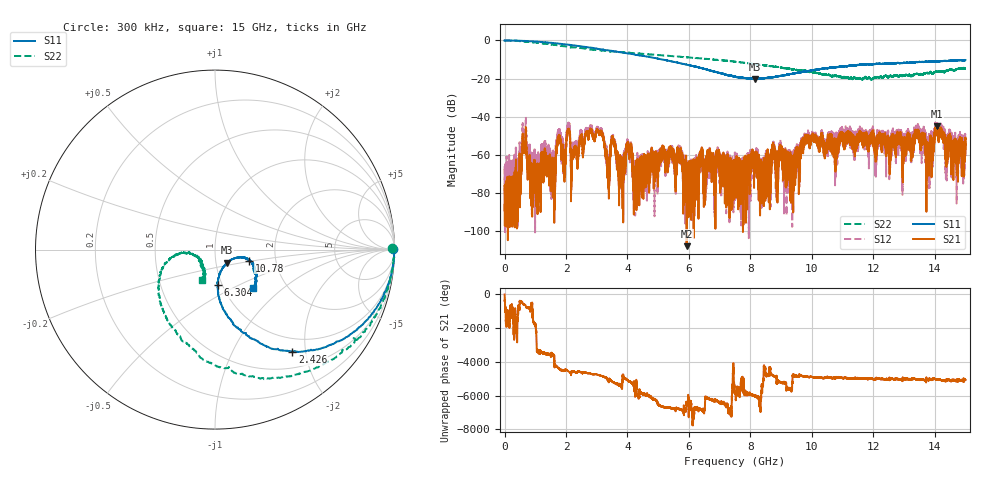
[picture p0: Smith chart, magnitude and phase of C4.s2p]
!Agilent Technologies,N5230C,SG49000117,A.08.50.07
!Agilent N5230C: A.08.50.07
!Date: Monday, December 11, 2023 23:01:31
!Correction: S11(Full 2 Port(1,2))
!S21(Full 2 Port(1,2))
!S12(Full 2 Port(1,2))
!S22(Full 2 Port(1,2))
!S2P File: Measurements: S11, S21, S12, S22:
# Hz S  RI  R 50
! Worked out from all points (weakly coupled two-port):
!   20001 points, 300 kHz to 15 GHz, reference 50 ohm
!   highest |S21| = -44.93 dB at 14.07 GHz (marker M1); lowest = -107.8 dB at 5.925 GHz (marker M2)
!   lowest |S11| = -20.1 dB at 8.157 GHz (marker M3), VSWR 1.22, Z = 56.6 - j8.23 ohm
!   |S11| at or under -10 dB: 5.139 GHz to end of sweep
!   |S22| runs from -20.5 to 0.0 dB; largest |S21 - S12| = 0.005
!   S11 on the Smith chart (normalised r, x): 300 kHz: open; 2.426 GHz: 0.76, -1.76; 6.304 GHz: 0.95, -0.39; 10.78 GHz: 1.46, -0.19; 15 GHz: 1.37, -0.65
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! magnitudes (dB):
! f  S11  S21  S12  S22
! 300 kHz  -0.1  -76.2  -65.9  -0.1
! 457.8 MHz  -0.1  -80.4  -67.9  -0.3
! 640.8 MHz  -0.2  -57.5  -52.9  -0.5
! 971.5 MHz  -0.5  -69.7  -59.4  -1.0
! 1.767 GHz  -1.7  -51.7  -47.2  -2.7
! 2.426 GHz  -2.9  -54.9  -54.3  -3.9
! 2.501 GHz  -3.1  -49.7  -48.0  -4.0
! 3.101 GHz  -4.5  -49.6  -48.3  -5.2
! 3.781 GHz  -6.1  -62.6  -68.9  -6.1
! 4.052 GHz  -6.9  -59.2  -58.2  -6.5
! 4.263 GHz  -7.5  -82.1  -77.6  -6.7
! 5 GHz  -9.6  -62.2  -60.2  -7.7
! 5.925 GHz  -12.6  -107.8  -69.8  -8.8
! 6.304 GHz  -14.0  -70.5  -64.0  -9.3
! 7.5 GHz  -18.9  -66.3  -66.8  -11.1
! 8.157 GHz  -20.1  -64.6  -61.0  -12.4
! 9.356 GHz  -17.5  -76.8  -63.9  -15.2
! 10 GHz  -15.6  -51.7  -50.0  -16.5
! 10.78 GHz  -14.0  -59.4  -54.3  -18.6
! 12.5 GHz  -12.1  -53.2  -50.1  -19.1
! 14.07 GHz  -10.9  -44.9  -45.3  -16.3
! 15 GHz  -10.3  -57.1  -52.6  -14.7
